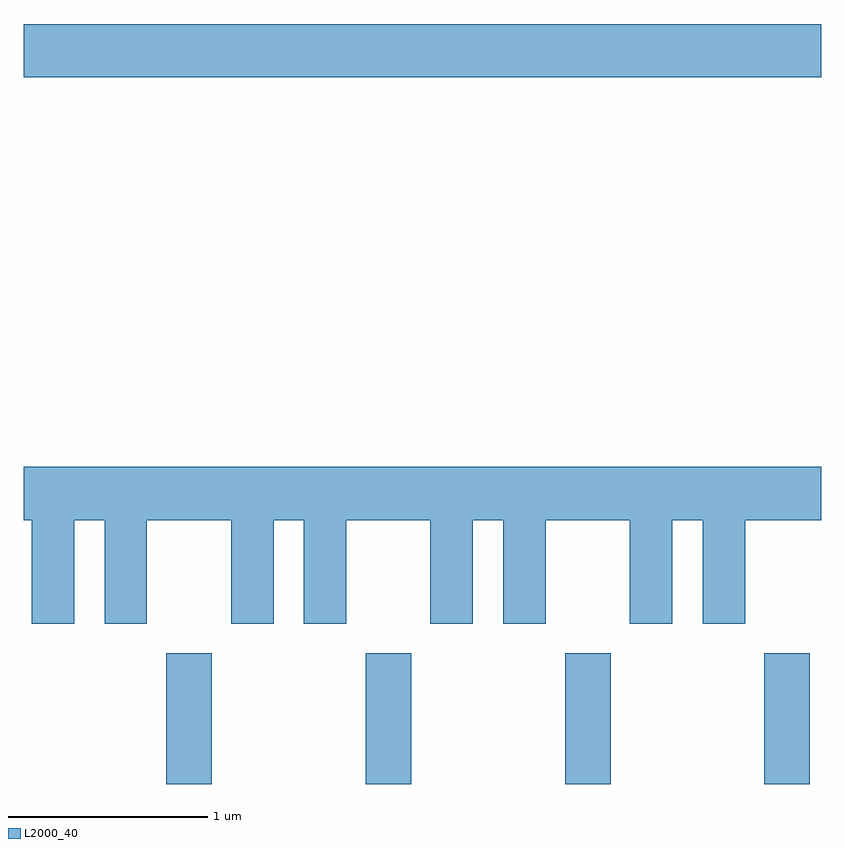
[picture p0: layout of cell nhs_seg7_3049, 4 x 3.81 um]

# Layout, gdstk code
import gdstk
lib = gdstk.Library(unit=1e-6, precision=1e-09)
def R(c, l, rs):  # rectangles x0, y0, x1, y1
    for r in rs: c.add(gdstk.rectangle(r[:2], r[2:], *l))
def A(c, l, x, y, w, h, nx, ny, dx, dy):  # array of equal rectangles
    R(c, l, [(x+i*dx, y+j*dy, x+i*dx+w, y+j*dy+h) for i in range(nx) for j in range(ny)])
def P(c, l, *ps):  # polygons
    for p in ps: c.add(gdstk.Polygon(p, *l))
L2000_40 = (2000, 40)

nhs_seg7_3049 = lib.new_cell('nhs_seg7_3049')
A(nhs_seg7_3049, L2000_40, 278.326, 1786.252, 0.228, 0.657, 4, 1, 1, 0)
R(nhs_seg7_3049, L2000_40, [(277.611,1789.796,281.611,1790.064)])
P(nhs_seg7_3049, L2000_40, [(277.864,1787.576),(278.016,1787.576),(278.016,1787.056),(278.229,1787.056),(278.229,1787.576),(278.651,1787.576),(278.651,1787.056),(278.864,1787.056),(278.864,1787.576),(279.016,1787.576),(279.016,1787.056),(279.229,1787.056),(279.229,1787.576),(279.651,1787.576),(279.651,1787.056),(279.864,1787.056),(279.864,1787.576),(280.016,1787.576),(280.016,1787.056),(280.229,1787.056),(280.229,1787.576),(280.651,1787.576),(280.651,1787.056),(280.864,1787.056),(280.864,1787.576),(281.016,1787.576),(281.016,1787.056),(281.229,1787.056),(281.229,1787.576),(281.611,1787.576),(281.611,1787.844),(277.611,1787.844),(277.611,1787.576),(277.651,1787.576),(277.651,1787.056),(277.864,1787.056)])

lib.write_gds('nhs_seg7_3049.gds')
